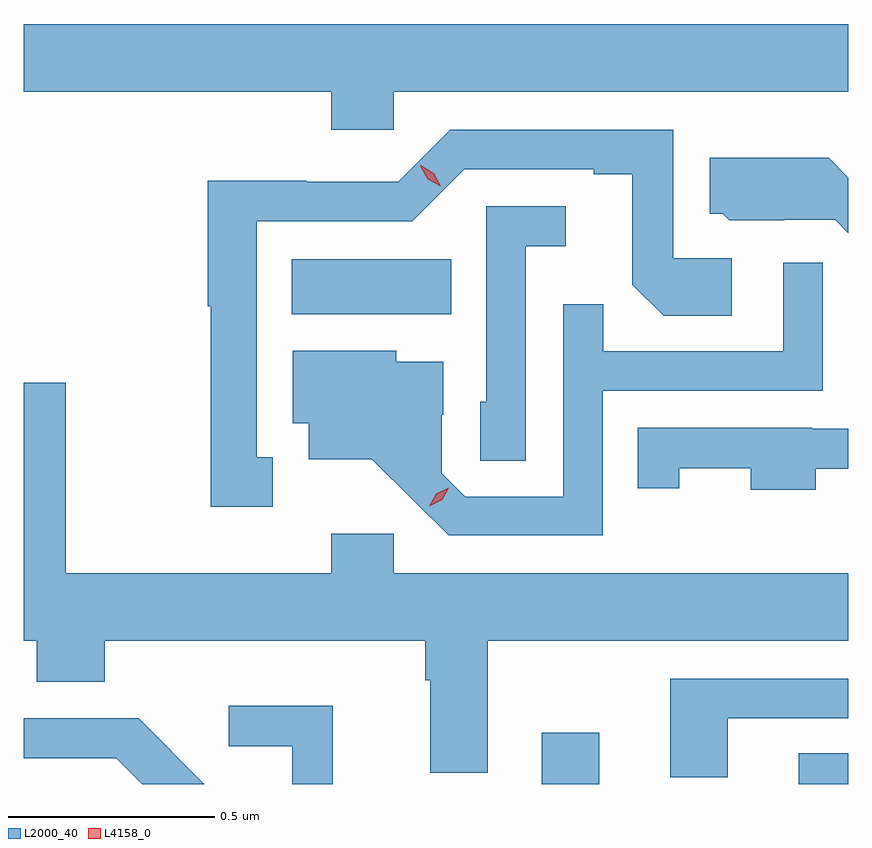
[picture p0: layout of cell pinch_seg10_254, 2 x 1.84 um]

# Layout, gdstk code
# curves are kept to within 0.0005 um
import gdstk
lib = gdstk.Library(unit=1e-6, precision=1e-09)
def R(c, l, rs):  # rectangles x0, y0, x1, y1
    for r in rs: c.add(gdstk.rectangle(r[:2], r[2:], *l))
def P(c, l, *ps):  # polygons
    for p in ps: c.add(gdstk.Polygon(p, *l))
L2000_40 = (2000, 40)
L4158_0 = (4158, 0)

pinch_seg10_254 = lib.new_cell('pinch_seg10_254')
R(pinch_seg10_254, L2000_40, [(611.279,1299.969,611.419,1300.093), (611.903,1299.969,612.023,1300.043), (610.673,1301.108,611.06,1301.242)])
P(pinch_seg10_254, L2000_40, [(610.92,1301.648),(612.023,1301.648),(612.023,1301.812),(610.023,1301.812),(610.023,1301.648),(610.769,1301.648),(610.769,1301.555),(610.92,1301.555)],
  [(610.627,1300.761),(610.588,1300.761),(610.588,1301.334),(610.965,1301.334),(611.091,1301.46),(611.405,1301.46),(611.405,1301.448),(611.499,1301.448),(611.499,1301.18),(611.575,1301.104),(611.74,1301.104),(611.74,1301.244),(611.598,1301.244),(611.598,1301.556),(611.058,1301.556),(610.932,1301.43),(610.71,1301.43),(610.71,1301.432),(610.47,1301.432),(610.47,1301.127),(610.477,1301.127),(610.477,1300.641),(610.627,1300.641)],
  [(612.023,1301.439),(611.975,1301.488),(611.687,1301.488),(611.687,1301.352),(611.718,1301.352),(611.734,1301.336),(611.868,1301.336),(611.868,1301.337),(611.991,1301.337),(612.023,1301.305)],
  [(611.241,1301.273),(611.338,1301.273),(611.338,1301.37),(611.145,1301.37),(611.145,1300.896),(611.13,1300.896),(611.13,1300.753),(611.241,1300.753)],
  [(611.427,1300.923),(611.961,1300.923),(611.961,1301.233),(611.865,1301.233),(611.865,1301.019),(611.429,1301.019),(611.429,1301.132),(611.331,1301.132),(611.331,1300.665),(611.094,1300.665),(611.037,1300.722),(611.037,1300.864),(611.041,1300.864),(611.041,1300.993),(610.926,1300.993),(610.926,1301.02),(610.676,1301.02),(610.676,1300.844),(610.715,1300.844),(610.715,1300.757),(610.867,1300.757),(611.054,1300.572),(611.427,1300.572)],
  [(611.149,1300.316),(612.023,1300.316),(612.023,1300.48),(610.92,1300.48),(610.92,1300.576),(610.769,1300.576),(610.769,1300.48),(610.125,1300.48),(610.125,1300.942),(610.023,1300.942),(610.023,1300.316),(610.055,1300.316),(610.055,1300.217),(610.22,1300.217),(610.22,1300.316),(610.997,1300.316),(610.997,1300.22),(611.009,1300.22),(611.009,1299.996),(611.149,1299.996)],
  [(611.944,1300.733),(612.023,1300.733),(612.023,1300.83),(611.936,1300.83),(611.936,1300.833),(611.512,1300.833),(611.512,1300.686),(611.613,1300.686),(611.613,1300.735),(611.786,1300.735),(611.786,1300.682),(611.944,1300.682)],
  [(611.731,1300.128),(612.023,1300.128),(612.023,1300.224),(611.591,1300.224),(611.591,1299.985),(611.731,1299.985)],
  [(610.773,1300.159),(610.521,1300.159),(610.521,1300.061),(610.674,1300.061),(610.674,1299.969),(610.773,1299.969)],
  [(610.302,1300.128),(610.023,1300.128),(610.023,1300.032),(610.248,1300.032),(610.311,1299.969),(610.461,1299.969)])
P(pinch_seg10_254, L4158_0, [(611.007,1300.643),(611.007,1300.643),(611.024,1300.673),(611.054,1300.688),(611.054,1300.688),(611.054,1300.688),(611.038,1300.658),(611.007,1300.643)],
  [(611.035,1301.418),(611.003,1301.436),(610.985,1301.468),(610.985,1301.469),(610.986,1301.469),(611.017,1301.45),(611.035,1301.418),(611.035,1301.418)])

lib.write_gds('pinch_seg10_254.gds')
